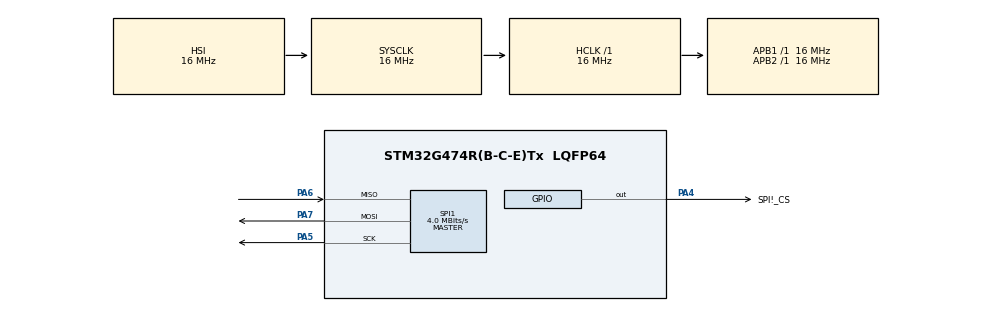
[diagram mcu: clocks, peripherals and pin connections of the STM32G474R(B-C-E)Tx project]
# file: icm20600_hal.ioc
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Mcu.Family=STM32G4
Mcu.Name=STM32G474R(B-C-E)Tx
Mcu.Package=LQFP64
NVIC.PriorityGroup=NVIC_PRIORITYGROUP_4
PA4.GPIO_Label=SPI\!_CS
PA4.GPIO_Speed=GPIO_SPEED_FREQ_MEDIUM
PA4.PinState=GPIO_PIN_SET
PA4.Signal=GPIO_Output
PA5.GPIO_Mode=GPIO_MODE_AF_PP
PA5.GPIO_Speed=GPIO_SPEED_FREQ_MEDIUM
PA5.Mode=Full_Duplex_Master
PA5.Signal=SPI1_SCK
PA6.GPIO_Speed=GPIO_SPEED_FREQ_MEDIUM
PA6.Mode=Full_Duplex_Master
PA6.Signal=SPI1_MISO
PA7.GPIO_Speed=GPIO_SPEED_FREQ_MEDIUM
PA7.Mode=Full_Duplex_Master
PA7.Signal=SPI1_MOSI
ProjectManager.HeapSize=0x200
ProjectManager.StackSize=0x400
ProjectManager.TargetToolchain=STM32CubeIDE
RCC.AHBFreq_Value=16000000
RCC.APB1Freq_Value=16000000
RCC.APB1TimFreq_Value=16000000
RCC.APB2Freq_Value=16000000
RCC.APB2TimFreq_Value=16000000
RCC.CortexFreq_Value=16000000
RCC.EXTERNAL_CLOCK_VALUE=12288000
RCC.HCLKFreq_Value=16000000
RCC.HSE_VALUE=8000000
RCC.HSI48_VALUE=48000000
RCC.HSI_VALUE=16000000
RCC.LSE_VALUE=32768
RCC.SYSCLKFreq_VALUE=16000000
RCC.USBFreq_Value=64000000
RCC.VCOOutputFreq_Value=128000000
SPI1.BaudRatePrescaler=SPI_BAUDRATEPRESCALER_4
SPI1.CLKPhase=SPI_PHASE_2EDGE
SPI1.CLKPolarity=SPI_POLARITY_HIGH
SPI1.CalculateBaudRate=4.0 MBits/s
SPI1.DataSize=SPI_DATASIZE_8BIT
SPI1.Direction=SPI_DIRECTION_2LINES
SPI1.Mode=SPI_MODE_MASTER
SPI1.VirtualType=VM_MASTER
VP_SYS_VS_DBSignals.Mode=DisableDeadBatterySignals
board=custom

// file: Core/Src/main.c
/* USER CODE BEGIN Header */
/**oisjgvodsnvdf
  ******************************************************************************
  * @file           : main.c
  * @brief          : Main program body
  ******************************************************************************
  * @attention
  *
  * Copyright (c) 2025 STMicroelectronics.
  * All rights reserved.
  *
  * This software is licensed under terms that can be found in the LICENSE file
  * in the root directory of this software component.
  * If no LICENSE file comes with this software, it is provided AS-IS.
  *
  ******************************************************************************
  */
/* USER CODE END Header */
#include "main.h"

/* USER CODE BEGIN PD */
#define ACCEL_SCALE 0b11 //00 = 2g, 01 = 4g, 10 = 8g, 11 = 16g
#define GYRO_SCALE 0b11  //00 = 250dps, 01 = 500dps, 10 = 1000dps, 11 = 2000dps
/* USER CODE END PD */

SPI_HandleTypeDef hspi1;

/* USER CODE BEGIN PV */
uint8_t data;
uint8_t tx_data[2];
uint8_t rx_byte[2];
uint8_t rx_data2;
uint8_t storage[14];
float accel_x_data, accel_y_data, accel_z_data, gyro_x_data, gyro_y_data, gyro_z_data;
float accel_sensitivity[4] = {16384.0f, 8192.0f, 4096.0f, 2048.0f};
float gyro_sensitivity[4] = {131.0f, 65.5f, 32.8f, 16.4f};
/* USER CODE END PV */

void SystemClock_Config(void);
static void MX_GPIO_Init(void);
static void MX_SPI1_Init(void);
/* USER CODE BEGIN PFP */
uint8_t spi_read(uint8_t reg_address)
{

    HAL_GPIO_WritePin(SPI__CS_GPIO_Port, SPI__CS_Pin, GPIO_PIN_RESET);

    tx_data[0] = reg_address | 0x80;
    tx_data[1] = 0x55;

    HAL_SPI_TransmitReceive(&hspi1, tx_data, rx_byte, 2, 30);

    HAL_GPIO_WritePin(SPI__CS_GPIO_Port, SPI__CS_Pin, GPIO_PIN_SET);

    return rx_byte[1];
}

 void spi_write(uint8_t *reg_address, uint8_t *data)
{
	  HAL_GPIO_WritePin(SPI__CS_GPIO_Port, SPI__CS_Pin, GPIO_PIN_RESET);

	  HAL_SPI_Transmit(&hspi1, &reg_address, 1, 30);

	  HAL_SPI_Transmit(&hspi1, &data, 1 , 30);

	    HAL_GPIO_WritePin(SPI__CS_GPIO_Port, SPI__CS_Pin, GPIO_PIN_SET);
}

 void spi_read_uninterrupt(uint8_t reg_address,uint8_t address_count,uint8_t storage[])
 {

	    HAL_GPIO_WritePin(SPI__CS_GPIO_Port, SPI__CS_Pin, GPIO_PIN_RESET);

	    uint8_t tx_data = reg_address | 0x80;
	    HAL_SPI_Transmit(&hspi1, &tx_data, 1 , 30);
	    tx_data+=1;

	    for(int i = 0; i < address_count; i+= 1)
	    {
	    HAL_SPI_TransmitReceive(&hspi1, &tx_data, &storage[i], 1, 30);
	    }

	    HAL_GPIO_WritePin(SPI__CS_GPIO_Port, SPI__CS_Pin, GPIO_PIN_SET);

 }
/* USER CODE END PFP */

int main(void)
{

  /* MCU Configuration--------------------------------------------------------*/

  /* Reset of all peripherals, Initializes the Flash interface and the Systick. */
  HAL_Init();

  /* Configure the system clock */
  SystemClock_Config();

  /* Initialize all configured peripherals */
  MX_GPIO_Init();
  MX_SPI1_Init();

  /* Infinite loop */
  /* USER CODE BEGIN WHILE */
  SCB->CPACR |= 0x3 << 20;
  spi_write(0x6B,0x00);
  data = spi_read(0x75);
  spi_write(0x1B, GYRO_SCALE << 3);
  spi_write(0x1C, ACCEL_SCALE << 3);
  while (1)
  {
    /* USER CODE END WHILE */

    /* USER CODE BEGIN 3 */
	  spi_read_uninterrupt(0x3B, 14, storage); // Function for continuous reading of 14 registers

	        // Calculate acceleration values and angular rates from raw data
	        accel_x_data = (float)(int16_t)((storage[0] << 8) | storage[1]) / accel_sensitivity[ACCEL_SCALE];
	        HAL_Delay(100);
	        accel_y_data = (float)(int16_t)((storage[2] << 8) | storage[3]) / accel_sensitivity[ACCEL_SCALE];
	        HAL_Delay(100);
	        accel_z_data = (float)(int16_t)((storage[4] << 8) | storage[5]) / accel_sensitivity[ACCEL_SCALE];
	        HAL_Delay(100);
	        gyro_x_data = (float)(int16_t)((storage[8] << 8) | storage[9]) / gyro_sensitivity[GYRO_SCALE];
	        HAL_Delay(100);
	        gyro_y_data = (float)(int16_t)((storage[10] << 8) | storage[11]) / gyro_sensitivity[GYRO_SCALE];
	        HAL_Delay(100);
	        gyro_z_data = (float)(int16_t)((storage[12] << 8) | storage[13]) / gyro_sensitivity[GYRO_SCALE];
  }
  /* USER CODE END 3 */
}

void SystemClock_Config(void)
{
  RCC_OscInitTypeDef RCC_OscInitStruct = {0};
  RCC_ClkInitTypeDef RCC_ClkInitStruct = {0};

  /** Configure the main internal regulator output voltage
  */
  HAL_PWREx_ControlVoltageScaling(PWR_REGULATOR_VOLTAGE_SCALE1);

  /** Initializes the RCC Oscillators according to the specified parameters
  * in the RCC_OscInitTypeDef structure.
  */
  RCC_OscInitStruct.OscillatorType = RCC_OSCILLATORTYPE_HSI;
  RCC_OscInitStruct.HSIState = RCC_HSI_ON;
  RCC_OscInitStruct.HSICalibrationValue = RCC_HSICALIBRATION_DEFAULT;
  RCC_OscInitStruct.PLL.PLLState = RCC_PLL_NONE;
  if (HAL_RCC_OscConfig(&RCC_OscInitStruct) != HAL_OK)
  {
    Error_Handler();
  }

  /** Initializes the CPU, AHB and APB buses clocks
  */
  RCC_ClkInitStruct.ClockType = RCC_CLOCKTYPE_HCLK|RCC_CLOCKTYPE_SYSCLK
                              |RCC_CLOCKTYPE_PCLK1|RCC_CLOCKTYPE_PCLK2;
  RCC_ClkInitStruct.SYSCLKSource = RCC_SYSCLKSOURCE_HSI;
  RCC_ClkInitStruct.AHBCLKDivider = RCC_SYSCLK_DIV1;
  RCC_ClkInitStruct.APB1CLKDivider = RCC_HCLK_DIV1;
  RCC_ClkInitStruct.APB2CLKDivider = RCC_HCLK_DIV1;

  if (HAL_RCC_ClockConfig(&RCC_ClkInitStruct, FLASH_LATENCY_0) != HAL_OK)
  {
    Error_Handler();
  }
}

static void MX_SPI1_Init(void)
{

  /* SPI1 parameter configuration*/
  hspi1.Instance = SPI1;
  hspi1.Init.Mode = SPI_MODE_MASTER;
  hspi1.Init.Direction = SPI_DIRECTION_2LINES;
  hspi1.Init.DataSize = SPI_DATASIZE_8BIT;
  hspi1.Init.CLKPolarity = SPI_POLARITY_HIGH;
  hspi1.Init.CLKPhase = SPI_PHASE_2EDGE;
  hspi1.Init.NSS = SPI_NSS_SOFT;
  hspi1.Init.BaudRatePrescaler = SPI_BAUDRATEPRESCALER_4;
  hspi1.Init.FirstBit = SPI_FIRSTBIT_MSB;
  hspi1.Init.TIMode = SPI_TIMODE_DISABLE;
  hspi1.Init.CRCCalculation = SPI_CRCCALCULATION_DISABLE;
  hspi1.Init.CRCPolynomial = 7;
  hspi1.Init.CRCLength = SPI_CRC_LENGTH_DATASIZE;
  hspi1.Init.NSSPMode = SPI_NSS_PULSE_DISABLE;
  if (HAL_SPI_Init(&hspi1) != HAL_OK)
  {
    Error_Handler();
  }

}

static void MX_GPIO_Init(void)
{
  GPIO_InitTypeDef GPIO_InitStruct = {0};

  /* GPIO Ports Clock Enable */
  __HAL_RCC_GPIOA_CLK_ENABLE();

  /*Configure GPIO pin Output Level */
  HAL_GPIO_WritePin(SPI__CS_GPIO_Port, SPI__CS_Pin, GPIO_PIN_SET);

  /*Configure GPIO pin : SPI__CS_Pin */
  GPIO_InitStruct.Pin = SPI__CS_Pin;
  GPIO_InitStruct.Mode = GPIO_MODE_OUTPUT_PP;
  GPIO_InitStruct.Pull = GPIO_NOPULL;
  GPIO_InitStruct.Speed = GPIO_SPEED_FREQ_MEDIUM;
  HAL_GPIO_Init(SPI__CS_GPIO_Port, &GPIO_InitStruct);

}

void Error_Handler(void)
{
  __disable_irq();
  while (1)
  {
  }
}
